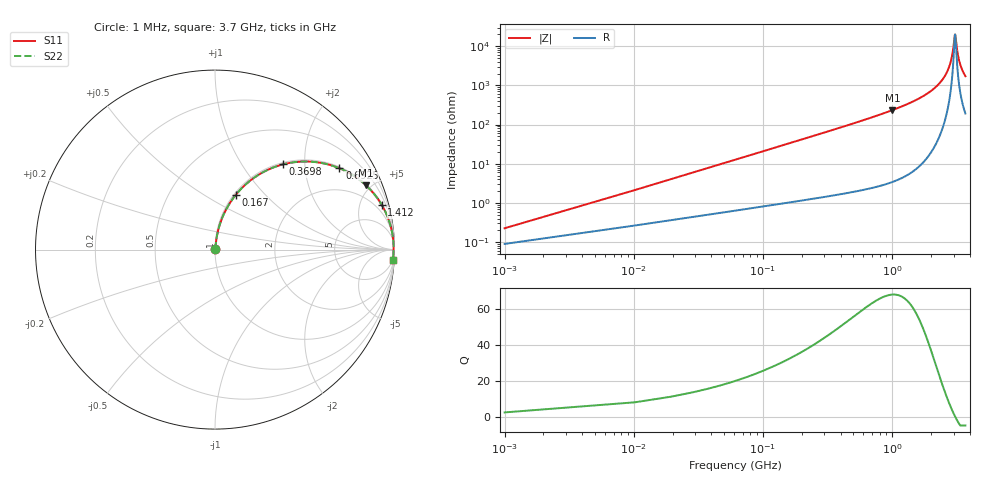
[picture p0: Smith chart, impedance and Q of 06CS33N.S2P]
! Coilcraft 0603CS-33N Chip Inductor
! 21 May 2002
# MHZ S MA R 50
!Freq  MagS11  AngS11  MagS21  AngS21  MagS12  AngS12  MagS22  AngS22
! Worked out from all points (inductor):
!   403 points, 1 MHz to 3.7 GHz, reference 50 ohm
!   read as one part in series: L = 33 nH near 19.44 MHz
!   highest Q = 68.3 at 1.006 GHz (marker M1), where L = 36.9 nH
!   self-resonance near 3.071 GHz
!   S11 on the Smith chart (normalised r, x): 1 MHz: 1.00, +0.00; 167 MHz: 1.02, +0.69; 369.8 MHz: 1.03, +1.56; 692.5 MHz: 1.05, +3.02; 1.412 GHz: 1.12, +7.41; 3.7 GHz: 5, -34
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1  0.002258 66.4  0.9991 -0.1  0.9991 -0.1  0.002258 66.4
28.66  0.05923 82.4  0.9939 -3.4  0.9939 -3.4  0.05923 82.4
47.1  0.09684 81.2  0.9898 -5.5  0.9898 -5.5  0.09684 81.2
93.2  0.1886 76.8  0.9744 -10.9  0.9744 -10.9  0.1886 76.8
166.96  0.3251 69.3  0.9359 -19.0  0.9359 -19.0  0.3251 69.3
369.8  0.6081 51.4  0.7815 -37.4  0.7815 -37.4  0.6081 51.4
618.74  0.7946 36.5  0.5942 -52.6  0.5942 -52.6  0.7946 36.5
692.5  0.8282 33.2  0.5475 -55.9  0.5475 -55.9  0.8282 33.2
1005.98  0.9144 23.0  0.3916 -66.1  0.3916 -66.1  0.9144 23.0
1236.48  0.9462 18.0  0.3095 -71.1  0.3095 -71.1  0.9462 18.0
1411.66  0.9616 15.0  0.2594 -74.0  0.2594 -74.0  0.9616 15.0
1854.22  0.9829 9.4  0.163 -79.3  0.163 -79.3  0.9829 9.4
2471.96  0.9936 4.0  0.06901 -82.7  0.06901 -82.7  0.9936 4.0
2674.8  0.9947 2.5  0.04421 -81.9  0.04421 -81.9  0.9947 2.5
2831.54  0.9951 1.5  0.02655 -78.7  0.02655 -78.7  0.9951 1.5
2951.4  0.9952 0.8  0.01404 -69.5  0.01404 -69.5  0.9952 0.8
3062.04  0.995 0.1  0.005256 -19.3  0.005256 -19.3  0.995 0.1
3089.7  0.995 -0.1  0.005122 11.8  0.005122 11.8  0.995 -0.1
3209.56  0.9947 -0.7  0.01394 67.1  0.01394 67.1  0.9947 -0.7
3310.98  0.9943 -1.3  0.02325 75.1  0.02325 75.1  0.9943 -1.3
3476.94  0.9934 -2.2  0.03831 79.0  0.03831 79.0  0.9934 -2.2
3700  0.9919 -3.3  0.05769 80.3  0.05769 80.3  0.9919 -3.3
